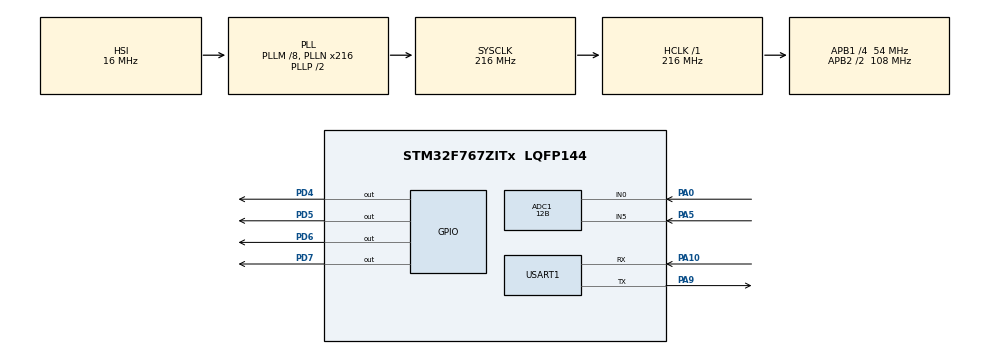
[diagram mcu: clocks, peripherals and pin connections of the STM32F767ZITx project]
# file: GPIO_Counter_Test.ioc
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ADC1.Channel-0\#ChannelRegularConversion=ADC_CHANNEL_0
ADC1.Channel-1\#ChannelRegularConversion=ADC_CHANNEL_5
ADC1.ClockPrescaler=ADC_CLOCK_SYNC_PCLK_DIV4
ADC1.ContinuousConvMode=DISABLE
ADC1.DMAContinuousRequests=ENABLE
ADC1.DataAlign=ADC_DATAALIGN_RIGHT
ADC1.DiscontinuousConvMode=DISABLE
ADC1.EOCSelection=ADC_EOC_SEQ_CONV
ADC1.EnableAnalogWatchDog=false
ADC1.ExternalTrigConv=ADC_SOFTWARE_START
ADC1.ExternalTrigConvEdge=ADC_EXTERNALTRIGCONVEDGE_NONE
ADC1.InjNumberOfConversion=0
ADC1.NbrOfConversion=2
ADC1.NbrOfConversionFlag=1
ADC1.Rank-0\#ChannelRegularConversion=1
ADC1.Rank-1\#ChannelRegularConversion=2
ADC1.Resolution=ADC_RESOLUTION_12B
ADC1.SamplingTime-0\#ChannelRegularConversion=ADC_SAMPLETIME_480CYCLES
ADC1.SamplingTime-1\#ChannelRegularConversion=ADC_SAMPLETIME_480CYCLES
ADC1.ScanConvMode=ADC_SCAN_ENABLE
ADC1.master=1
Dma.ADC1.0.Direction=DMA_PERIPH_TO_MEMORY
Dma.ADC1.0.FIFOMode=DMA_FIFOMODE_DISABLE
Dma.ADC1.0.Instance=DMA2_Stream0
Dma.ADC1.0.MemDataAlignment=DMA_MDATAALIGN_HALFWORD
Dma.ADC1.0.MemInc=DMA_MINC_ENABLE
Dma.ADC1.0.Mode=DMA_CIRCULAR
Dma.ADC1.0.PeriphDataAlignment=DMA_PDATAALIGN_HALFWORD
Dma.ADC1.0.PeriphInc=DMA_PINC_DISABLE
Dma.ADC1.0.Priority=DMA_PRIORITY_LOW
Dma.MEMTOMEM.1.Direction=DMA_MEMORY_TO_MEMORY
Dma.MEMTOMEM.1.FIFOMode=DMA_FIFOMODE_ENABLE
Dma.MEMTOMEM.1.FIFOThreshold=DMA_FIFO_THRESHOLD_FULL
Dma.MEMTOMEM.1.Instance=DMA2_Stream1
Dma.MEMTOMEM.1.MemBurst=DMA_MBURST_SINGLE
Dma.MEMTOMEM.1.MemDataAlignment=DMA_MDATAALIGN_BYTE
Dma.MEMTOMEM.1.MemInc=DMA_MINC_ENABLE
Dma.MEMTOMEM.1.Mode=DMA_NORMAL
Dma.MEMTOMEM.1.PeriphBurst=DMA_PBURST_SINGLE
Dma.MEMTOMEM.1.PeriphDataAlignment=DMA_PDATAALIGN_BYTE
Dma.MEMTOMEM.1.PeriphInc=DMA_PINC_ENABLE
Dma.MEMTOMEM.1.Priority=DMA_PRIORITY_LOW
Dma.Request0=ADC1
Dma.Request1=MEMTOMEM
Mcu.Family=STM32F7
Mcu.Name=STM32F767ZITx
Mcu.Package=LQFP144
NVIC.DMA2_Stream0_IRQn=true\:0\:0\:false\:false\:true\:false
NVIC.PriorityGroup=NVIC_PRIORITYGROUP_4
NVIC.USART1_IRQn=true\:0\:0\:false\:false\:true\:true
PA0/WKUP.Signal=ADCx_IN0
PA10.Mode=Asynchronous
PA10.Signal=USART1_RX
PA5.Signal=ADCx_IN5
PA9.Mode=Asynchronous
PA9.Signal=USART1_TX
PD4.GPIO_Speed=GPIO_SPEED_FREQ_VERY_HIGH
PD4.Signal=GPIO_Output
PD5.GPIO_Speed=GPIO_SPEED_FREQ_VERY_HIGH
PD5.Signal=GPIO_Output
PD6.GPIO_Speed=GPIO_SPEED_FREQ_VERY_HIGH
PD6.Signal=GPIO_Output
PD7.GPIO_Speed=GPIO_SPEED_FREQ_VERY_HIGH
PD7.Signal=GPIO_Output
ProjectManager.HeapSize=0x200
ProjectManager.StackSize=0x400
ProjectManager.TargetToolchain=SW4STM32
RCC.AHBFreq_Value=216000000
RCC.APB1CLKDivider=RCC_HCLK_DIV4
RCC.APB1Freq_Value=54000000
RCC.APB1TimFreq_Value=108000000
RCC.APB2CLKDivider=RCC_HCLK_DIV2
RCC.APB2Freq_Value=108000000
RCC.APB2TimFreq_Value=216000000
RCC.CortexFreq_Value=216000000
RCC.HCLKFreq_Value=216000000
RCC.HSE_VALUE=25000000
RCC.HSI_VALUE=16000000
RCC.LSE_VALUE=32768
RCC.PLLM=8
RCC.PLLN=216
RCC.SYSCLKFreq_VALUE=216000000
RCC.SYSCLKSource=RCC_SYSCLKSOURCE_PLLCLK
RCC.USBFreq_Value=216000000
RCC.VCOOutputFreq_Value=432000000
SH.ADCx_IN0.0=ADC1_IN0,IN0
SH.ADCx_IN5.0=ADC1_IN5,IN5
USART1.VirtualMode-Asynchronous=VM_ASYNC
board=custom

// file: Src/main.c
/**
  ******************************************************************************
  * @file           : main.c
  * @brief          : Main program body
  ******************************************************************************
  ** This notice applies to any and all portions of this file
  * that are not between comment pairs USER CODE BEGIN and
  * USER CODE END. Other portions of this file, whether
  * inserted by the user or by software development tools
  * are owned by their respective copyright owners.
  *
  * COPYRIGHT(c) 2018 STMicroelectronics
  *
  * Redistribution and use in source and binary forms, with or without modification,
  * are permitted provided that the following conditions are met:
  *   1. Redistributions of source code must retain the above copyright notice,
  *      this list of conditions and the following disclaimer.
  *   2. Redistributions in binary form must reproduce the above copyright notice,
  *      this list of conditions and the following disclaimer in the documentation
  *      and/or other materials provided with the distribution.
  *   3. Neither the name of STMicroelectronics nor the names of its contributors
  *      may be used to endorse or promote products derived from this software
  *      without specific prior written permission.
  *
  * THIS SOFTWARE IS PROVIDED BY THE COPYRIGHT HOLDERS AND CONTRIBUTORS "AS IS"
  * AND ANY EXPRESS OR IMPLIED WARRANTIES, INCLUDING, BUT NOT LIMITED TO, THE
  * IMPLIED WARRANTIES OF MERCHANTABILITY AND FITNESS FOR A PARTICULAR PURPOSE ARE
  * DISCLAIMED. IN NO EVENT SHALL THE COPYRIGHT HOLDER OR CONTRIBUTORS BE LIABLE
  * FOR ANY DIRECT, INDIRECT, INCIDENTAL, SPECIAL, EXEMPLARY, OR CONSEQUENTIAL
  * DAMAGES (INCLUDING, BUT NOT LIMITED TO, PROCUREMENT OF SUBSTITUTE GOODS OR
  * SERVICES; LOSS OF USE, DATA, OR PROFITS; OR BUSINESS INTERRUPTION) HOWEVER
  * CAUSED AND ON ANY THEORY OF LIABILITY, WHETHER IN CONTRACT, STRICT LIABILITY,
  * OR TORT (INCLUDING NEGLIGENCE OR OTHERWISE) ARISING IN ANY WAY OUT OF THE USE
  * OF THIS SOFTWARE, EVEN IF ADVISED OF THE POSSIBILITY OF SUCH DAMAGE.
  *
  ******************************************************************************
  */
#include "main.h"
#include "stm32f7xx_hal.h"
#include "adc.h"
#include "dma.h"
#include "usart.h"
#include "gpio.h"

/* USER CODE BEGIN PV */
/* Private variables ---------------------------------------------------------*/
uint8_t cnt = 0;
uint16_t ADC_results[2] = { 0 };
float MUX1[9] = { 0 };
float MUX2[9] = { 0 };
float RefV = 3.315;
float Resolution = 4095.0;
/* USER CODE END PV */

void SystemClock_Config(void);

/* USER CODE BEGIN PFP */
/* Private function prototypes -----------------------------------------------*/
void HAL_ADC_ConvCpltCallback(ADC_HandleTypeDef *hadc) {
	MUX1[cnt] = (RefV * ADC_results[0]) / Resolution;
	MUX2[cnt] = (RefV * ADC_results[1]) / Resolution;
	HAL_GPIO_WritePin(GPIOD, 0b1111 << 4, GPIO_PIN_RESET);
	cnt++;
	if (cnt > 8) {
		cnt = 0;
	}
	HAL_GPIO_WritePin(GPIOD, cnt << 4, GPIO_PIN_SET);
	HAL_ADC_Start_DMA(&hadc1, ADC_results, 2);
}
/* USER CODE END PFP */

int main(void)
{

  /* MCU Configuration----------------------------------------------------------*/

  /* Reset of all peripherals, Initializes the Flash interface and the Systick. */
  HAL_Init();

  /* Configure the system clock */
  SystemClock_Config();

  /* Initialize all configured peripherals */
  MX_GPIO_Init();
  MX_DMA_Init();
  MX_ADC1_Init();
  MX_USART1_UART_Init();
  /* USER CODE BEGIN 2 */
	HAL_GPIO_WritePin(GPIOD, cnt << 4, GPIO_PIN_SET);
	HAL_ADC_Start_DMA(&hadc1, ADC_results, 2);
  /* USER CODE END 2 */

  /* Infinite loop */
	while (1) {

	}

}

void SystemClock_Config(void)
{

  RCC_OscInitTypeDef RCC_OscInitStruct;
  RCC_ClkInitTypeDef RCC_ClkInitStruct;
  RCC_PeriphCLKInitTypeDef PeriphClkInitStruct;

    /**Configure the main internal regulator output voltage
    */
  __HAL_RCC_PWR_CLK_ENABLE();

  __HAL_PWR_VOLTAGESCALING_CONFIG(PWR_REGULATOR_VOLTAGE_SCALE1);

    /**Initializes the CPU, AHB and APB busses clocks
    */
  RCC_OscInitStruct.OscillatorType = RCC_OSCILLATORTYPE_HSI;
  RCC_OscInitStruct.HSIState = RCC_HSI_ON;
  RCC_OscInitStruct.HSICalibrationValue = 16;
  RCC_OscInitStruct.PLL.PLLState = RCC_PLL_ON;
  RCC_OscInitStruct.PLL.PLLSource = RCC_PLLSOURCE_HSI;
  RCC_OscInitStruct.PLL.PLLM = 8;
  RCC_OscInitStruct.PLL.PLLN = 216;
  RCC_OscInitStruct.PLL.PLLP = RCC_PLLP_DIV2;
  RCC_OscInitStruct.PLL.PLLQ = 2;
  if (HAL_RCC_OscConfig(&RCC_OscInitStruct) != HAL_OK)
  {
    _Error_Handler(__FILE__, __LINE__);
  }

    /**Activate the Over-Drive mode
    */
  if (HAL_PWREx_EnableOverDrive() != HAL_OK)
  {
    _Error_Handler(__FILE__, __LINE__);
  }

    /**Initializes the CPU, AHB and APB busses clocks
    */
  RCC_ClkInitStruct.ClockType = RCC_CLOCKTYPE_HCLK|RCC_CLOCKTYPE_SYSCLK
                              |RCC_CLOCKTYPE_PCLK1|RCC_CLOCKTYPE_PCLK2;
  RCC_ClkInitStruct.SYSCLKSource = RCC_SYSCLKSOURCE_PLLCLK;
  RCC_ClkInitStruct.AHBCLKDivider = RCC_SYSCLK_DIV1;
  RCC_ClkInitStruct.APB1CLKDivider = RCC_HCLK_DIV4;
  RCC_ClkInitStruct.APB2CLKDivider = RCC_HCLK_DIV2;

  if (HAL_RCC_ClockConfig(&RCC_ClkInitStruct, FLASH_LATENCY_7) != HAL_OK)
  {
    _Error_Handler(__FILE__, __LINE__);
  }

  PeriphClkInitStruct.PeriphClockSelection = RCC_PERIPHCLK_USART1;
  PeriphClkInitStruct.Usart1ClockSelection = RCC_USART1CLKSOURCE_PCLK2;
  if (HAL_RCCEx_PeriphCLKConfig(&PeriphClkInitStruct) != HAL_OK)
  {
    _Error_Handler(__FILE__, __LINE__);
  }

    /**Configure the Systick interrupt time
    */
  HAL_SYSTICK_Config(HAL_RCC_GetHCLKFreq()/1000);

    /**Configure the Systick
    */
  HAL_SYSTICK_CLKSourceConfig(SYSTICK_CLKSOURCE_HCLK);

  /* SysTick_IRQn interrupt configuration */
  HAL_NVIC_SetPriority(SysTick_IRQn, 0, 0);
}

void _Error_Handler(char *file, int line)
{
	while (1) {
	}
}

/************************ (C) COPYRIGHT STMicroelectronics *****END OF FILE****/
